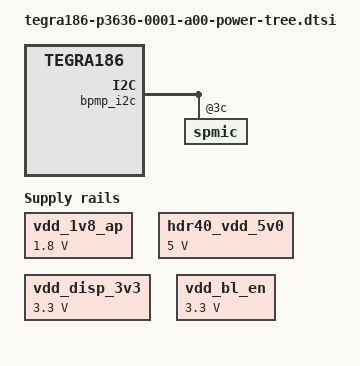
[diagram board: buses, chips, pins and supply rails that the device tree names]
/*
 * tegra186-p3636-0001-a00-power-tree.dtsi : Lanai power tree dtsi
 *
 * Copyright (c) 2020, NVIDIA CORPORATION.  All rights reserved.
 *
 * This program is free software; you can redistribute it and/or modify
 * it under the terms of the GNU General Public License as published by
 * the Free Software Foundation; either version 2 of the License, or
 * (at your option) any later version.
 *
 * This program is distributed in the hope that it will be useful, but WITHOUT
 * ANY WARRANTY; without even the implied warranty of MERCHANTABILITY or
 * FITNESS FOR A PARTICULAR PURPOSE.  See the GNU General Public License for
 * more details.
 *
 */

#include "tegra186-p3636-0001-a00-spmic.dtsi"

/ {

	fixed-regulators {
		vdd_1v8_ap: regulator@201 {
			compatible = "regulator-fixed";
			reg = <201>;
			regulator-name = "vdd-1v8-ap";
			regulator-min-microvolt = <1800000>;
			regulator-max-microvolt = <1800000>;
			regulator-always-on;
			regulator-boot-on;
		};
		hdr40_vdd_5v0: battery_reg: regulator@202 {
			compatible = "regulator-fixed";
			reg = <202>;
			regulator-name = "vdd-ac-bat";
			regulator-min-microvolt = <5000000>;
			regulator-max-microvolt = <5000000>;
			regulator-always-on;
		};
		vdd_disp_3v3: regulator@203 {
			compatible = "regulator-fixed";
			reg = <203>;
			regulator-name = "vdd-3v3-disp-cvb";
			regulator-min-microvolt = <3300000>;
			regulator-max-microvolt = <3300000>;
		};
		vdd_bl_en: regulator@204 {
			compatible = "regulator-fixed-sync";
			reg = <204>;
			regulator-name = "vdd-sys-bl";
			regulator-min-microvolt = <3300000>;
			regulator-max-microvolt = <3300000>;
		};
	};


	ether_qos@2490000 {
		vddio_sys_enet_bias-supply = <&spmic_sd2>;
		vddio_enet-supply = <&spmic_sd3>;
		phy_vdd_1v8-supply = <&spmic_sd2>;
		phy_ovdd_rgmii-supply = <&spmic_sd3>;
		phy_pllvdd-supply = <&spmic_sd1>;
	};

	host1x {
		nvdisplay@15200000 {
			vdd-dp-pwr-supply = <&battery_reg>;
			avdd-dp-pll-supply = <&battery_reg>;
			vdd-edp-sec-mode-supply = <&battery_reg>;
			vdd-dp-pad-supply = <&battery_reg>;
			avdd_hdmi-supply = <&spmic_ldo7>;
			avdd_hdmi_pll-supply = <&spmic_sd2>;
			vdd_hdmi_5v0-supply = <&p3509_vdd_hdmi_5v0>;
			/* Used fixed regulator for P3509 CVB,
			   can change for other CVB if have GPIO enabled regulator*/
			avdd_lcd-supply = <&vdd_disp_3v3>;
			dvdd_lcd-supply = <&vdd_1v8_ap>;
			avdd_dsi_csi-supply = <&spmic_sd1>;
			vdd_lcd_bl-supply = <&battery_reg>;
			vdd_lcd_bl_en-supply = <&vdd_bl_en>;
		};
		nvdisplay@15210000 {
			vdd-dp-pwr-supply = <&battery_reg>;
			avdd-dp-pll-supply = <&battery_reg>;
			vdd-edp-sec-mode-supply = <&battery_reg>;
			vdd-dp-pad-supply = <&battery_reg>;
			avdd_hdmi-supply = <&spmic_ldo7>;
			avdd_hdmi_pll-supply = <&spmic_sd2>;
			vdd_hdmi_5v0-supply = <&p3509_vdd_hdmi_5v0>;
			/* Used fixed regulator for P3509 CVB,
			   can change for other CVB if have GPIO enabled regulator*/
			avdd_lcd-supply = <&vdd_disp_3v3>;
			dvdd_lcd-supply = <&vdd_1v8_ap>;
			avdd_dsi_csi-supply = <&spmic_sd1>;
			vdd_lcd_bl-supply = <&battery_reg>;
			vdd_lcd_bl_en-supply = <&vdd_bl_en>;
		};
		nvdisplay@15220000 {
			vdd-dp-pwr-supply = <&battery_reg>;
			avdd-dp-pll-supply = <&battery_reg>;
			vdd-edp-sec-mode-supply = <&battery_reg>;
			vdd-dp-pad-supply = <&battery_reg>;
			avdd_hdmi-supply = <&spmic_ldo7>;
			avdd_hdmi_pll-supply = <&spmic_sd2>;
			vdd_hdmi_5v0-supply = <&p3509_vdd_hdmi_5v0>;
			/* Used fixed regulator for P3509 CVB,
			   can change for other CVB if have GPIO enabled regulator*/
			avdd_lcd-supply = <&vdd_disp_3v3>;
			dvdd_lcd-supply = <&vdd_1v8_ap>;
			avdd_dsi_csi-supply = <&spmic_sd1>;
			vdd_lcd_bl-supply = <&battery_reg>;
			vdd_lcd_bl_en-supply = <&vdd_bl_en>;
		};
		vi@15700000 {
			avdd_dsi_csi-supply = <&spmic_sd1>;
		};
		nvcsi@150c0000 {
			nvidia,csi_regulator = "avdd_dsi_csi";
		};
	};

	sdhci@3460000 {
		vqmmc-supply = <&spmic_sd2>;
		vmmc-supply = <&spmic_sd3>;
	};

	sdhci@3440000 {
		vqmmc-supply = <&spmic_ldo5>;
		vmmc-supply = <&spmic_sd2>;
	};

	sdhci@3420000 {
		vqmmc-supply = <&spmic_sd2>;
		vmmc-supply = <&spmic_sd3>;
	};

	sdhci@3400000 {
		vqmmc-supply = <&spmic_ldo3>;
		vmmc-supply = <&spmic_sd2>;
	};

	xhci@3530000 {
		avddio_usb-supply = <&spmic_sd3>;
		avdd_pll_utmip-supply = <&spmic_sd2>;
		hvdd_usb-supply =  <&spmic_sd2>;
	};

	xudc@3550000 {
		avdd-usb-supply = <&spmic_sd3>;
	};

	pinctrl@3520000 {
		vbus-3-supply = <&battery_reg>;
		vddio-hsic-supply = <&battery_reg>;
		avdd_usb-supply = <&spmic_sd3>;
		vclamp_usb-supply = <&spmic_sd2>;
		avdd_pll_erefeut-supply = <&spmic_sd2>;
	};

	xusb_padctl@3520000 {
		avdd_usb-supply = <&spmic_sd3>;
		vclamp_usb-supply = <&spmic_sd2>;
		avdd_pll_erefeut-supply = <&spmic_sd2>;
		ports {
			usb2-0 {
				vbus-supply = <&battery_reg>;
			};
			usb2-1 {
				vbus-supply = <&battery_reg>;
			};
			usb2-2 {
				vbus-supply = <&battery_reg>;
			};
		};
	};

	pcie-controller@10003000 {
		dvdd-pex-supply = <&spmic_ldo7>;
		hvdd-pex-pll-supply = <&spmic_sd2>;
		hvdd-pex-supply = <&spmic_sd2>;
		vddio-pexctl-aud-supply = <&spmic_sd2>;
	};

	pmc-iopower {
		vddio-sys-supply = <&vdd_1v8_ap>;
		vddio-uart-supply = <&vdd_1v8_ap>;
		vddio-conn-supply = <&vdd_1v8_ap>;
		vddio-edp-supply = <&vdd_1v8_ap>;
		vddio-pex-ctrl-supply = <&vdd_1v8_ap>;
		vddio-audio-supply = <&vdd_1v8_ap>;
		vddio-ufs-supply = <&vdd_1v8_ap>;
		vddio-ddr0-supply = <&spmic_sd0>;
		vddio-ddr1-supply = <&spmic_sd0>;
		vddio-mipi-bias-supply = <&spmic_sd1>;
		vddio-cam-supply = <&vdd_1v8_ap>;
		vddio-sdmmc4-supply = <&vdd_1v8_ap>;
		vddio-sdmmc1-hv-supply = <&spmic_ldo3>;
		vddio-audio-hv-supply = <&vdd_1v8_ap>;
		vddio-dbg-supply = <&vdd_1v8_ap>;
		vddio-spi-supply = <&vdd_1v8_ap>;
		vddio-ao-supply = <&vdd_1v8_ap>;
		vddio-ao-hv-supply = <&spmic_ldo2>;
		vddio-dmic-hv-supply =  <&vdd_1v8_ap>;
		vddio-sdmmc2-hv-supply = <&spmic_sd3>;
		vddio-sdmmc3-hv-supply =  <&spmic_ldo5>;
	};

	pwm-fan {
		vdd-fan-supply = <&p3509_vdd_fan>;
	};

	bpmp_i2c {
		spmic@3c {
			pinmux@0 {

				pin_gpio1 {
					maxim,active-fps-power-up-slot = <1>;
					maxim,active-fps-power-down-slot = <3>;
				};

				pin_gpio2 {
					maxim,active-fps-power-up-slot = <7>;
					maxim,active-fps-power-down-slot = <1>;
				};

				pin_gpio3 {
					maxim,active-fps-power-up-slot = <1>;
					maxim,active-fps-power-down-slot = <7>;
				};
			};

			regulators {
				/* TBD: Need to check with the HW team */
				sd0 {
					maxim,active-fps-source = <MAX77620_FPS_SRC_0>;
					maxim,active-fps-power-up-slot = <5>;
					maxim,active-fps-power-down-slot = <2>;
					regulator-enable-ramp-delay = <278>;
					regulator-disable-ramp-delay = <153000>;
					maxim,ramp-rate-setting = <27500>;
					regulator-ramp-delay = <3930>;
				};

				sd1 {
					maxim,active-fps-source = <MAX77620_FPS_SRC_1>;
					maxim,active-fps-power-up-slot = <3>;
					maxim,active-fps-power-down-slot = <1>;
					regulator-enable-ramp-delay = <211>;
					regulator-disable-ramp-delay = <40000>;
					maxim,ramp-rate-setting = <27500>;
					regulator-ramp-delay = <5500>;
				};

				sd2 {
					maxim,active-fps-source = <MAX77620_FPS_SRC_0>;
					maxim,active-fps-power-up-slot = <0>;
					maxim,active-fps-power-down-slot = <7>;
					regulator-enable-ramp-delay = <4000>;
					regulator-disable-ramp-delay = <21000>;
					maxim,ramp-rate-setting = <27500>;
					regulator-ramp-delay = <450>;
				};

				sd3 {
					maxim,active-fps-source = <MAX77620_FPS_SRC_0>;
					maxim,active-fps-power-up-slot = <6>;
					maxim,active-fps-power-down-slot = <1>;
					regulator-enable-ramp-delay = <574>;
					regulator-disable-ramp-delay = <40000>;
					maxim,ramp-rate-setting = <27500>;
					regulator-ramp-delay = <5500>;
				};

				ldo0 {
					maxim,active-fps-source = <MAX77620_FPS_SRC_1>;
					maxim,active-fps-power-up-slot = <3>;
					maxim,active-fps-power-down-slot = <3>;
					maxim,ramp-rate-setting = <100000>;
					regulator-ramp-delay = <100000>;
				};

				ldo1 {
					maxim,ramp-rate-setting = <100000>;
					regulator-ramp-delay = <100000>;
				};

				ldo2 {
					maxim,active-fps-source = <MAX77620_FPS_SRC_0>;
					maxim,active-fps-power-up-slot = <6>;
					maxim,active-fps-power-down-slot = <1>;
					regulator-enable-ramp-delay = <152>;
					regulator-disable-ramp-delay = <14000>;
					maxim,ramp-rate-setting = <100000>;
					regulator-ramp-delay = <20000>;
				};

				ldo3 {
					maxim,active-fps-source = <MAX77620_FPS_SRC_NONE>;
					maxim,active-fps-power-up-slot = <0>;
					maxim,active-fps-power-down-slot = <7>;
					regulator-enable-ramp-delay = <160>;
					regulator-disable-ramp-delay = <16000>;
					maxim,ramp-rate-setting = <5000>;
					regulator-ramp-delay = <1000>;
				};

				ldo4 {
					maxim,active-fps-source = <MAX77620_FPS_SRC_0>;
					maxim,active-fps-power-up-slot = <1>;
					maxim,active-fps-power-down-slot = <7>;
					regulator-enable-ramp-delay = <26>;
					regulator-disable-ramp-delay = <1650>;
					maxim,ramp-rate-setting = <100000>;
					regulator-ramp-delay = <33000>;
				};

				ldo5 {
					maxim,active-fps-power-up-slot = <0>;
					maxim,active-fps-power-down-slot = <7>;
					regulator-enable-ramp-delay = <309>;
					regulator-disable-ramp-delay = <16000>;
					maxim,ramp-rate-setting = <5000>;
					regulator-ramp-delay = <526>;
				};

				ldo6 {
					maxim,ramp-rate-setting = <100000>;
					regulator-ramp-delay = <100000>;
				};

				ldo7 {
					maxim,active-fps-source = <MAX77620_FPS_SRC_1>;
					maxim,active-fps-power-up-slot = <4>;
					maxim,active-fps-power-down-slot = <1>;
					regulator-enable-ramp-delay = <95>;
					regulator-disable-ramp-delay = <15000>;
					maxim,ramp-rate-setting = <100000>;
					regulator-ramp-delay = <10000>;
				};

			};
		};
	};

	fixed-regulators {
		regulator@1 {
			regulator-enable-ramp-delay = <1120>;
			regulator-disable-ramp-delay = <16500>;
		};

		regulator@2 {
			regulator-enable-ramp-delay = <108>;
			regulator-disable-ramp-delay = <1200>;
		};

		regulator@3 {
			regulator-enable-ramp-delay = <745>;
			regulator-disable-ramp-delay = <74000>;
		};

		regulator@4 {
			regulator-enable-ramp-delay = <945>;
			regulator-disable-ramp-delay = <2650>;
		};

		regulator@5 {
			regulator-enable-ramp-delay = <800>;
			regulator-disable-ramp-delay = <13000>;
		};

		regulator@6 {
			regulator-enable-ramp-delay = <173>;
			regulator-disable-ramp-delay = <13000>;
		};

		regulator@7 {
			regulator-enable-ramp-delay = <245>;
			regulator-disable-ramp-delay = <43000>;
		};

		regulator@8 {
			regulator-enable-ramp-delay = <216>;
			regulator-disable-ramp-delay = <43000>;
		};

		regulator@10 {
			regulator-enable-ramp-delay = <178>;
			regulator-disable-ramp-delay = <10000>;
		};

		regulator@11 {
			regulator-enable-ramp-delay = <5000>;
			regulator-disable-ramp-delay = <87000>;
		};
	};
};
